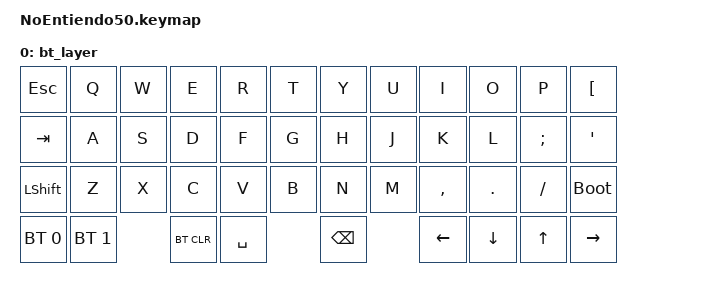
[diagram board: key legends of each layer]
#include <behaviors.dtsi>
#include <dt-bindings/zmk/keys.h>
#include <dt-bindings/zmk/bt.h>

/ {
	keymap {
		compatible = "zmk,keymap";
		
		default_layer {
			bindings = <	
				&kp ESC		&kp Q		&kp W		&kp E		&kp R		&kp T		&kp Y		&kp U		&kp I		&kp O		&kp P		&kp LBKT
				&kp TAB		&kp A		&kp S		&kp D		&kp F		&kp G		&kp H		&kp J		&kp K		&kp L		&kp SEMI	&kp APOS
				&kp LSHFT	&kp Z		&kp X		&kp C		&kp V		&kp B		&kp N		&kp M		&kp COMMA	&kp DOT		&kp SLASH	&kp DEL
				&kp LCTRL	&kp LALT	&to 1				&kp SPACE			&kp BSPC			&kp LEFT	&kp UP 		&kp DOWN	&kp RIGHT
			>
		};
		
		bt_layer {
			bindings = <		
				&kp ESC		&kp Q		&kp W		&kp E		&kp R		&kp T		&kp Y		&kp U		&kp I		&kp O		&kp P		&kp LBKT
				&kp TAB		&kp A		&kp S		&kp D		&kp F		&kp G		&kp H		&kp J		&kp K		&kp L		&kp SEMI	&kp APOS
				&kp LSHFT	&kp Z		&kp X		&kp C		&kp V		&kp B		&kp N		&kp M		&kp COMMA	&kp DOT		&kp SLASH	&bootloader
				&bt BT_SEL 0	&bt BT_SEL 1	&bt BT_CLR			&kp SPACE			&kp BSPC			&kp LEFT 	&kp DOWN	&kp UP		&kp RIGHT
			>;
		};
	};
};	
